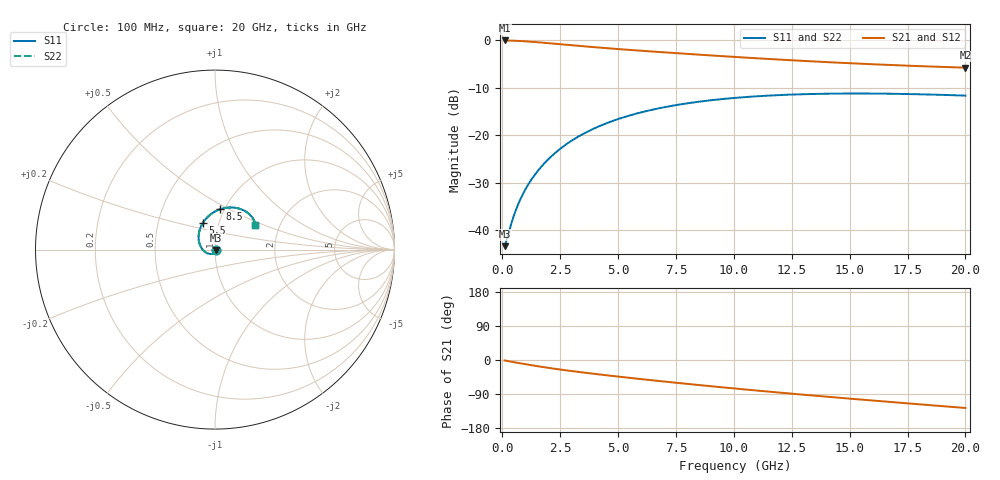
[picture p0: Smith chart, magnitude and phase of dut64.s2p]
! Touchstone file exported from HFSS 2024.1.0
!  File:  C:/UserFiles/LocalFiles/RDL_TSV_Batchsim/temp_RDL_TSV_64_1779410119.aedt
!  Generated:  08:48:59 AM May 22, 2026
!  Design:  RDL_TSV
!  Project:  temp_RDL_TSV_64_1779410119
!  Setup:  Setup1
!  Solution:  Sweep
! Variables:
!  dtsv = 9.04um
!  hbump = 3um
!  htsv = 70.09um
!  ldown = 190.54um
!  lrdl = 281.15um
!  p = 40
!  p1 = 43.59um
!  rhole = 10um
!  subl = 1696.22um
!  t = 450um
!  tdown = 4.63um
!  trdl = 4.56um
!  viad = 10um
!  wdown = 24.68um
!  wrdl = 25.5um
!  xbump = 18um
# GHz S MA R 50.000000
! Terminal data exported
! Port[1] = TM1_1_T1
! Port[2] = TM1_4_T1
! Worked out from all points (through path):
!   200 points, 100 MHz to 20 GHz, reference 50 ohm
!   highest |S21| = -0.06 dB at 100 MHz (marker M1); lowest = -5.8 dB at 20 GHz (marker M2)
!   group delay of S21, straight-line fit = 16.7 ps
!   lowest |S11| = -43.3 dB at 100 MHz (marker M3), VSWR 1.01, Z = 50.6 - j0.258 ohm
!   |S11| at or under -10 dB: start of sweep to end of sweep
!   |S22| runs from -43.3 to -11.2 dB; largest |S21 - S12| = 1.6e-13
!   S11 on the Smith chart (normalised r, x): 100 MHz: 1.01, -0.01; 5.5 GHz: 0.84, +0.25; 8.5 GHz: 0.95, +0.45; 20 GHz: 1.50, +0.44
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0.1  0.00683 -21.9  0.9932 -1.2  0.9932 -1.2  0.00683 -21.9
! Gamma 0 0 0 0
! Port Impedance 50 0 50 0
0.2  0.008123 -41.5  0.9921 -2.3  0.9921 -2.3  0.008124 -41.5
0.4  0.01203 -70.7  0.9889 -4.6  0.9889 -4.6  0.01203 -70.7
0.5  0.0143 -81.6  0.9868 -5.7  0.9868 -5.7  0.0143 -81.6
0.7  0.0192 -99.2  0.9819 -7.9  0.9819 -7.9  0.0192 -99.2
1  0.02708 -119.5  0.9725 -11.1  0.9725 -11.1  0.02708 -119.5
1.3  0.03545 -136.0  0.9611 -14.2  0.9611 -14.2  0.03545 -136.0
1.5  0.04125 -145.6  0.9526 -16.1  0.9526 -16.1  0.04126 -145.6
1.8  0.05024 -158.5  0.9392 -19.0  0.9392 -19.0  0.05025 -158.5
2.3  0.06575 -176.8  0.9159 -23.5  0.9159 -23.5  0.06577 -176.8
2.9  0.08476 165.2  0.8885 -28.4  0.8885 -28.4  0.08479 165.2
3.5  0.1037 150.4  0.8627 -33.1  0.8627 -33.1  0.1037 150.4
4.4  0.1309 132.5  0.8278 -39.6  0.8278 -39.6  0.131 132.5
5.5  0.1616 115.3  0.79 -47.1  0.79 -47.1  0.1617 115.3
6.8  0.193 99.4  0.7503 -55.6  0.7503 -55.6  0.1931 99.4
8.5  0.2257 83.2  0.7039 -66.2  0.7039 -66.2  0.2258 83.2
10.1  0.248 71.0  0.665 -75.6  0.665 -75.6  0.2482 71.0
11.7  0.2629 61.1  0.6304 -84.6  0.6304 -84.6  0.2631 61.1
13.4  0.2719 52.3  0.5984 -93.7  0.5984 -93.7  0.2721 52.3
15  0.2749 45.5  0.5724 -101.9  0.5724 -101.9  0.2752 45.4
16.7  0.2736 39.5  0.549 -110.5  0.549 -110.5  0.2739 39.5
20  0.2614 31.3  0.5142 -126.6  0.5142 -126.6  0.2618 31.3
